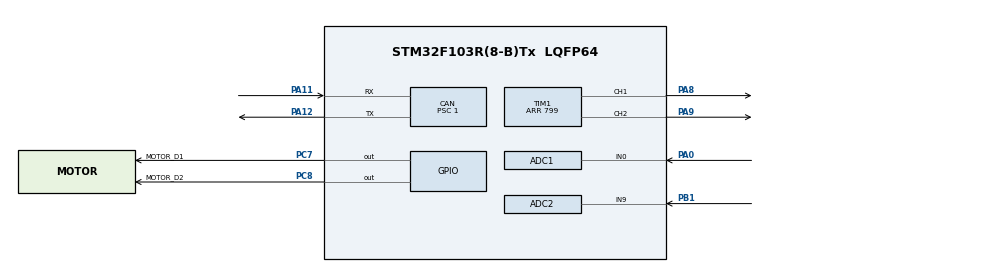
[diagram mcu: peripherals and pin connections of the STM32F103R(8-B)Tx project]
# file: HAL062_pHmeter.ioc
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ADC1.Channel-0\#ChannelRegularConversion=ADC_CHANNEL_0
ADC1.ContinuousConvMode=DISABLE
ADC1.ExternalTrigConv=ADC_EXTERNALTRIGCONV_T3_TRGO
ADC1.NbrOfConversion=1
ADC1.NbrOfConversionFlag=1
ADC1.Rank-0\#ChannelRegularConversion=1
ADC1.SamplingTime-0\#ChannelRegularConversion=ADC_SAMPLETIME_239CYCLES_5
ADC1.master=1
ADC2.AWD1HighThreshold=20
ADC2.AWD1ITMode=ENABLE
ADC2.Channel-0\#ChannelRegularConversion=ADC_CHANNEL_9
ADC2.EnableAnalogWatchDog=true
ADC2.EnableInjectedConversion=DISABLE
ADC2.ExternalTrigConv=ADC_EXTERNALTRIGCONV_T3_TRGO
ADC2.NbrOfConversion=1
ADC2.NbrOfConversionFlag=1
ADC2.Rank-0\#ChannelRegularConversion=1
ADC2.SamplingTime-0\#ChannelRegularConversion=ADC_SAMPLETIME_1CYCLE_5
ADC2.WatchdogChannel=ADC_CHANNEL_9
CAN.BS1=CAN_BS1_13TQ
CAN.BS2=CAN_BS2_2TQ
CAN.CalculateBaudRate=500000
CAN.CalculateTimeBit=2000
CAN.CalculateTimeQuantum=125.0
CAN.Prescaler=1
Dma.ADC1.0.Direction=DMA_PERIPH_TO_MEMORY
Dma.ADC1.0.Instance=DMA1_Channel1
Dma.ADC1.0.MemDataAlignment=DMA_MDATAALIGN_HALFWORD
Dma.ADC1.0.MemInc=DMA_MINC_ENABLE
Dma.ADC1.0.Mode=DMA_CIRCULAR
Dma.ADC1.0.PeriphDataAlignment=DMA_PDATAALIGN_HALFWORD
Dma.ADC1.0.PeriphInc=DMA_PINC_DISABLE
Dma.ADC1.0.Priority=DMA_PRIORITY_LOW
Dma.Request0=ADC1
Mcu.Family=STM32F1
Mcu.Name=STM32F103R(8-B)Tx
Mcu.Package=LQFP64
NVIC.ADC1_2_IRQn=true\:0\:0\:false\:false\:true\:true\:true\:true
NVIC.CAN1_RX1_IRQn=true\:0\:0\:false\:false\:true\:true\:true\:true
NVIC.CAN1_SCE_IRQn=true\:0\:0\:false\:false\:true\:true\:true\:true
NVIC.DMA1_Channel1_IRQn=true\:0\:0\:false\:false\:true\:true\:true\:true
NVIC.PriorityGroup=NVIC_PRIORITYGROUP_4
NVIC.USB_HP_CAN1_TX_IRQn=true\:0\:0\:false\:false\:true\:true\:true\:true
NVIC.USB_LP_CAN1_RX0_IRQn=true\:0\:0\:false\:false\:true\:true\:true\:true
PA0-WKUP.Signal=ADCx_IN0
PA11.Mode=CAN_Activate
PA11.Signal=CAN_RX
PA12.Mode=CAN_Activate
PA12.Signal=CAN_TX
PA13.Mode=Serial_Wire
PA13.Signal=SYS_JTMS-SWDIO
PA14.Mode=Serial_Wire
PA14.Signal=SYS_JTCK-SWCLK
PA8.Signal=S_TIM1_CH1
PA9.Signal=S_TIM1_CH2
PB1.Signal=ADCx_IN9
PC7.GPIO_Label=MOTOR_D1
PC7.Signal=GPIO_Output
PC8.GPIO_Label=MOTOR_D2
PC8.Signal=GPIO_Output
ProjectManager.HeapSize=0x200
ProjectManager.StackSize=0x400
ProjectManager.TargetToolchain=CMake
RCC.ADCPresc=RCC_ADCPCLK2_DIV8
RCC.APB1Freq_Value=8000000
RCC.APB2Freq_Value=8000000
RCC.APB2TimFreq_Value=8000000
SH.ADCx_IN0.0=ADC1_IN0,IN0
SH.ADCx_IN9.0=ADC2_IN9,IN9
SH.S_TIM1_CH1.0=TIM1_CH1,PWM Generation1 CH1
SH.S_TIM1_CH2.0=TIM1_CH2,PWM Generation2 CH2
TIM1.Channel-PWM\ Generation1\ CH1=TIM_CHANNEL_1
TIM1.Channel-PWM\ Generation2\ CH2=TIM_CHANNEL_2
TIM1.Period=799
TIM3.AutoReloadPreload=TIM_AUTORELOAD_PRELOAD_DISABLE
TIM3.Period=19999
TIM3.Prescaler=7
TIM3.TIM_MasterOutputTrigger=TIM_TRGO_UPDATE
VP_TIM3_VS_ClockSourceINT.Mode=Internal
board=custom

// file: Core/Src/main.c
/* USER CODE BEGIN Header */
/**
  ******************************************************************************
  * @file           : main.c
  * @brief          : Main program body
  ******************************************************************************
  * @attention
  *
  * Copyright (c) 2025 STMicroelectronics.
  * All rights reserved.
  *
  * This software is licensed under terms that can be found in the LICENSE file
  * in the root directory of this software component.
  * If no LICENSE file comes with this software, it is provided AS-IS.
  *
  ******************************************************************************
  */
/* USER CODE END Header */
#include "main.h"
#include "adc.h"
#include "can.h"
#include "cmsis_gcc.h"
#include "dma.h"
#include "tim.h"
#include "gpio.h"

/* USER CODE BEGIN Includes */
#include <stdio.h>
#include "pHmeter.h"
#include "MC34931.h"
/* USER CODE END Includes */

/* USER CODE BEGIN PV */
volatile uint16_t pHarray[ADC_BUFFER_LEN];
volatile uint8_t frameReady = 0;
uint16_t* pProcessBuffer = NULL;
uint8_t pHValue;
volatile uint16_t motorCurrent;

CAN_TxHeaderTypeDef   TxHeader;
uint8_t               TxData[8];
uint32_t              TxMailbox;
/* USER CODE END PV */

void SystemClock_Config(void);

int main(void)
{

  /* USER CODE BEGIN 1 */
	TxHeader.IDE = CAN_ID_STD;
	TxHeader.StdId = PH_METER_TX_ID;
	TxHeader.RTR = CAN_RTR_DATA;
	TxHeader.DLC = 1;
  /* USER CODE END 1 */

  /* MCU Configuration--------------------------------------------------------*/

  /* Reset of all peripherals, Initializes the Flash interface and the Systick. */
  HAL_Init();

  /* Configure the system clock */
  SystemClock_Config();

  /* Initialize all configured peripherals */
  MX_GPIO_Init();
  MX_DMA_Init();
  MX_ADC1_Init();
  MX_TIM3_Init();
  MX_CAN_Init();
  MX_ADC2_Init();
  MX_TIM1_Init();
  /* USER CODE BEGIN 2 */
  HAL_TIM_Base_Start(&htim3);
  HAL_ADCEx_Calibration_Start(&hadc1);
  HAL_ADC_Start_DMA(&hadc1, (uint32_t*)pHarray, ADC_BUFFER_LEN);
  HAL_ADC_Start_IT(&hadc2);
  Motor_Init_Structs();
  Motor_Init_Hardware(&Motor1);
  Motor_SetSpeed(&Motor1, DIR_CW, 50); // Start motor at 50% speed in clockwise direction
  /* USER CODE END 2 */

  /* Infinite loop */
  /* USER CODE BEGIN WHILE */
  while (1)
  {
	 //pHValue = convertpH(averageArray((uint16_t*)pHarray, ARRAY_LEN));
	 // HAL_Delay(100);
   if(frameReady && pProcessBuffer != NULL)
   {
    frameReady = 0;
    TxData[0] = prepareFrame(pProcessBuffer, SAMPLES_PER_FRAME);
    if(HAL_CAN_AddTxMessage(&hcan, &TxHeader, TxData, &TxMailbox) != HAL_OK)
    {
      Error_Handler();
    }
   }

    /* USER CODE END WHILE */

  }
}

void SystemClock_Config(void)
{
  RCC_OscInitTypeDef RCC_OscInitStruct = {0};
  RCC_ClkInitTypeDef RCC_ClkInitStruct = {0};
  RCC_PeriphCLKInitTypeDef PeriphClkInit = {0};

  /** Initializes the RCC Oscillators according to the specified parameters
  * in the RCC_OscInitTypeDef structure.
  */
  RCC_OscInitStruct.OscillatorType = RCC_OSCILLATORTYPE_HSI;
  RCC_OscInitStruct.HSIState = RCC_HSI_ON;
  RCC_OscInitStruct.HSICalibrationValue = RCC_HSICALIBRATION_DEFAULT;
  RCC_OscInitStruct.PLL.PLLState = RCC_PLL_NONE;
  if (HAL_RCC_OscConfig(&RCC_OscInitStruct) != HAL_OK)
  {
    Error_Handler();
  }

  /** Initializes the CPU, AHB and APB buses clocks
  */
  RCC_ClkInitStruct.ClockType = RCC_CLOCKTYPE_HCLK|RCC_CLOCKTYPE_SYSCLK
                              |RCC_CLOCKTYPE_PCLK1|RCC_CLOCKTYPE_PCLK2;
  RCC_ClkInitStruct.SYSCLKSource = RCC_SYSCLKSOURCE_HSI;
  RCC_ClkInitStruct.AHBCLKDivider = RCC_SYSCLK_DIV1;
  RCC_ClkInitStruct.APB1CLKDivider = RCC_HCLK_DIV1;
  RCC_ClkInitStruct.APB2CLKDivider = RCC_HCLK_DIV1;

  if (HAL_RCC_ClockConfig(&RCC_ClkInitStruct, FLASH_LATENCY_0) != HAL_OK)
  {
    Error_Handler();
  }
  PeriphClkInit.PeriphClockSelection = RCC_PERIPHCLK_ADC;
  PeriphClkInit.AdcClockSelection = RCC_ADCPCLK2_DIV8;
  if (HAL_RCCEx_PeriphCLKConfig(&PeriphClkInit) != HAL_OK)
  {
    Error_Handler();
  }
}

/* USER CODE BEGIN 4 */
void HAL_ADC_ConvHalfCpltCallback(ADC_HandleTypeDef* hadc)
{
  if(hadc->Instance == ADC1)
  {
  pProcessBuffer = (uint16_t*)&pHarray[0];
  frameReady = 1;
  }

}

void HAL_ADC_ConvCpltCallback(ADC_HandleTypeDef* hadc)
{
  if(hadc->Instance == ADC1)
  {
    pProcessBuffer = (uint16_t*)&pHarray[SAMPLES_PER_FRAME];
    frameReady = 1;
  }
  else if(hadc->Instance == ADC2)
  {
    motorCurrent = (uint16_t)HAL_ADC_GetValue(&hadc2);
  }
}

void HAL_ADC_LevelOutOfWindowCallback(ADC_HandleTypeDef *hadc)
{
  if(hadc->Instance == ADC2)
  {
    // Handle overcurrent condition
    Motor_SetSpeed(&Motor1, DIR_CW, 0); // Stop the motor
    __NOP();
    // Additional error handling can be added here
  }
}
/* USER CODE END 4 */

void Error_Handler(void)
{
  __disable_irq();
  while (1)
  {
  }
}
